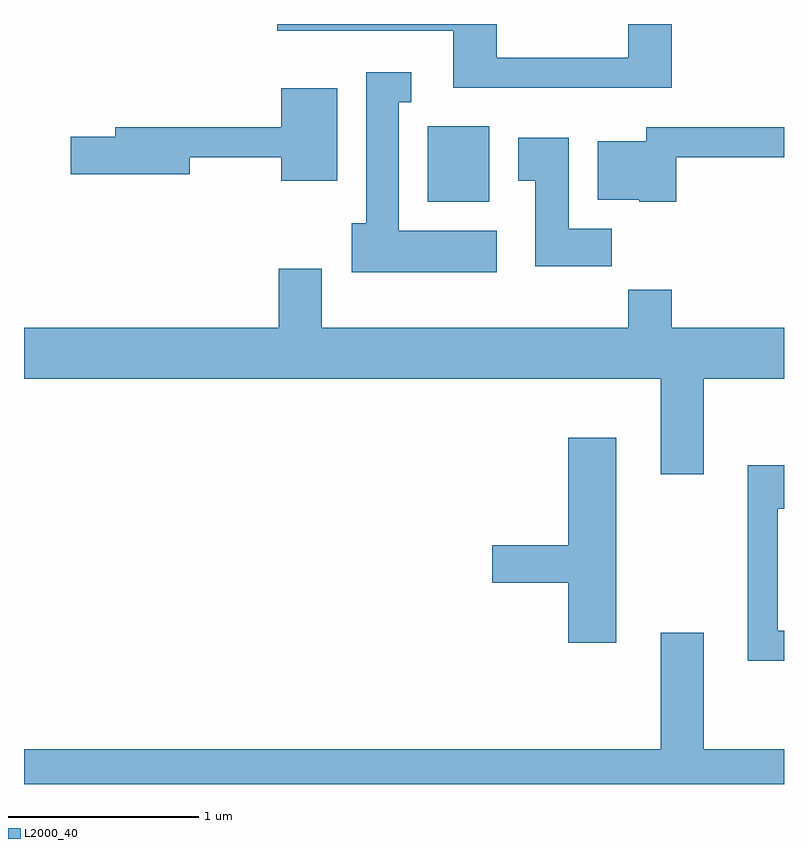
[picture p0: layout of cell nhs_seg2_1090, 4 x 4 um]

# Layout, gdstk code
import gdstk
lib = gdstk.Library(unit=1e-6, precision=1e-09)
def R(c, l, rs):  # rectangles x0, y0, x1, y1
    for r in rs: c.add(gdstk.rectangle(r[:2], r[2:], *l))
def P(c, l, *ps):  # polygons
    for p in ps: c.add(gdstk.Polygon(p, *l))
L2000_40 = (2000, 40)

nhs_seg2_1090 = lib.new_cell('nhs_seg2_1090')
R(nhs_seg2_1090, L2000_40, [(219.736,984.866,220.059,985.264)])
P(nhs_seg2_1090, L2000_40, [(221.019,985.802),(220.791,985.802),(220.791,985.624),(220.099,985.624),(220.099,985.802),(218.943,985.802),(218.943,985.766),(219.871,985.766),(219.871,985.466),(221.019,985.466)],
  [(220.099,984.714),(219.584,984.714),(219.584,985.391),(219.648,985.391),(219.648,985.549),(219.411,985.549),(219.411,984.754),(219.336,984.754),(219.336,984.496),(220.099,984.496)],
  [(219.259,985.464),(218.966,985.464),(218.966,985.259),(218.091,985.259),(218.091,985.209),(217.856,985.209),(217.856,985.011),(218.484,985.011),(218.484,985.101),(218.966,985.101),(218.966,984.976),(219.259,984.976)],
  [(221.044,985.101),(221.611,985.101),(221.611,985.259),(220.886,985.259),(220.886,985.184),(220.631,985.184),(220.631,984.876),(220.85,984.876),(220.85,984.866),(221.044,984.866)],
  [(220.704,984.724),(220.479,984.724),(220.479,985.204),(220.211,985.204),(220.211,984.976),(220.301,984.976),(220.301,984.526),(220.704,984.526)],
  [(221.189,983.936),(221.611,983.936),(221.611,984.204),(221.019,984.204),(221.019,984.404),(220.791,984.404),(220.791,984.204),(219.179,984.204),(219.179,984.514),(218.951,984.514),(218.951,984.204),(217.611,984.204),(217.611,983.936),(220.961,983.936),(220.961,983.431),(221.189,983.431)],
  [(220.729,983.624),(220.476,983.624),(220.476,983.059),(220.076,983.059),(220.076,982.861),(220.476,982.861),(220.476,982.546),(220.729,982.546)],
  [(221.611,982.609),(221.579,982.609),(221.579,983.251),(221.611,983.251),(221.611,983.479),(221.421,983.479),(221.421,982.451),(221.611,982.451)],
  [(221.611,981.984),(221.189,981.984),(221.189,982.599),(220.961,982.599),(220.961,981.984),(217.611,981.984),(217.611,981.802),(221.611,981.802)])

lib.write_gds('nhs_seg2_1090.gds')
